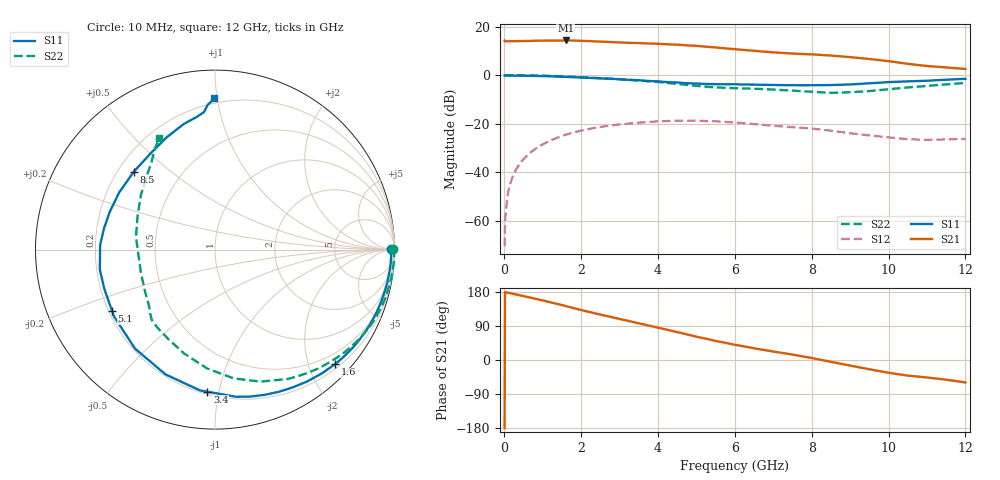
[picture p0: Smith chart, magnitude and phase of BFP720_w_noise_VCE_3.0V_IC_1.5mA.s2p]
! Infineon Technologies  Discrete & RF Semiconductors
! BFP720
! VCE =  3.0 V,  IC =  1.5 mA
! Common Emitter S-Parameters:  Aug 2012
# GHz  S  MA  R  50
!  f  S11  S21  S12  S22
! GHz  MAG  ANG  MAG  ANG  MAG  ANG  MAG  ANG
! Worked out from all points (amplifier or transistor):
!   105 points, 10 MHz to 12 GHz, reference 50 ohm
!   highest |S21| = 14.3 dB at 1.6 GHz (marker M1)
!   |S21| within 3 dB of that: start of sweep to 5.577 GHz
!   unconditionally stable (mu >= 1): start of sweep to 10.38 MHz; 7.858 GHz to 11.83 GHz
!   at 300 MHz: K = 0.02, MSG = 26.6 dB, |S12| = -39.1 dB
!   at 3.6 GHz: K = 0.28, MSG = 16.3 dB, |S12| = -19.4 dB
!   at 12 GHz: K = 0.89, MSG = 14.4 dB, |S12| = -26.2 dB
!   lowest NFmin = 0.43 dB at 450 MHz
!   S11 on the Smith chart (normalised r, x): 10 MHz: open; 1.6 GHz: 0.28, -2.47; 3.4 GHz: 0.22, -0.92; 5.1 GHz: 0.21, -0.26; 8.5 GHz: 0.26, +0.38; 12 GHz: 0.17, +0.98
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0.01  0.982 0.2  5.165 -179.8  0.0003 3.6  0.9938 0.3
0.02  0.9841 -0.5  4.975 179.2  0.0009 92.9  0.9988 -0.3
0.09  0.9821 -2.2  5.007 177.8  0.0034 87.7  0.9988 -1.8
0.3  0.979 -7.6  5.031 173.1  0.0111 84.2  0.9969 -5.9
0.6  0.972 -15.4  5.076 166.3  0.0224 79.0  0.9907 -11.9
1  0.9584 -26.4  5.156 157.3  0.0375 70.9  0.9782 -20.2
1.6  0.9245 -43.7  5.199 142.3  0.0592 58.0  0.9419 -32.7
2.1  0.8878 -57.8  5.071 129.5  0.0749 46.9  0.9007 -43.1
2.6  0.8548 -71.3  4.89 117.5  0.0882 36.5  0.8597 -52.9
3.4  0.7929 -93.1  4.615 99.2  0.1036 20.7  0.7862 -68.7
4.1  0.735 -114.9  4.397 83.1  0.1126 7.4  0.7108 -83.9
4.5  0.7093 -128.9  4.265 73.6  0.1158 -0.2  0.6637 -93.8
5.1  0.6676 -149.2  3.961 59.4  0.1148 -11.5  0.5937 -108.7
5.5  0.6543 -160.5  3.732 50.3  0.1123 -18.7  0.5617 -117.8
6.1  0.6469 -172.6  3.382 38.4  0.1046 -27.7  0.5373 -127.5
7  0.6296 169.1  2.96 22.3  0.0907 -37.4  0.5062 -135.6
8  0.6216 149.1  2.689 5.3  0.0795 -45.3  0.4566 -148.3
8.5  0.6268 136.3  2.54 -4.8  0.0718 -49.4  0.4328 -162.4
9.5  0.681 113.3  2.161 -24.4  0.0575 -50.2  0.4707 156.4
10  0.7206 104.1  1.946 -33.7  0.0523 -49.1  0.5136 143.4
10.5  0.7464 97.8  1.715 -41.1  0.048 -45.1  0.5586 133.1
12  0.8423 90.2  1.344 -59.3  0.0487 -34.3  0.6939 116.7
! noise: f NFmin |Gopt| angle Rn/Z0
0.45  0.43  0.72  5  0.33
1.8  0.58  0.67  30  0.28
2.4  0.68  0.58  79  0.2
5.5  0.99  0.47  92  0.09
10  1.51  0.5  -113  0.24
